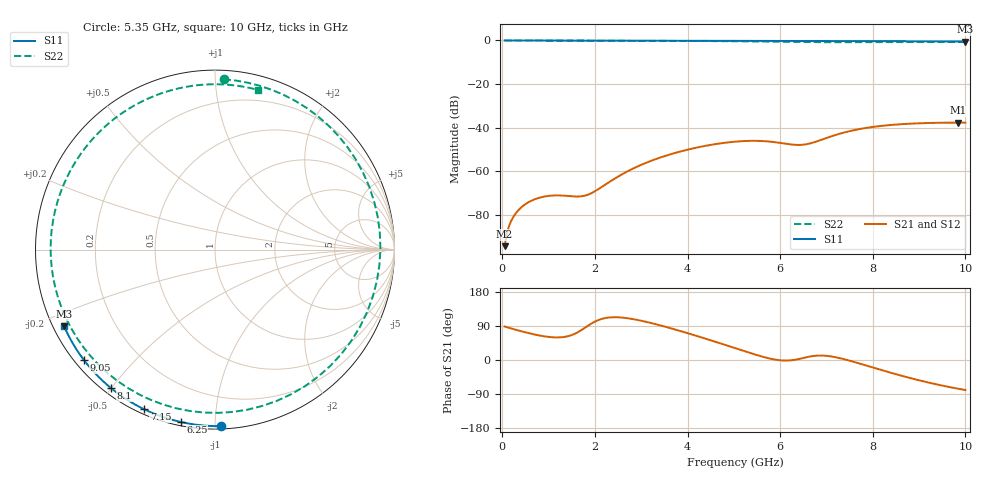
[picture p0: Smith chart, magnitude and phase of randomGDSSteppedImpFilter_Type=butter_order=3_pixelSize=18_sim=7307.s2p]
! freq	dB(S11)	phase(S11)	dB(S12)	phase(S12)
!  dB(S21)	phase(S21)	dB(S22)	phase(S22)
!S-par simulation data
#  GHz  S  DB  R 50
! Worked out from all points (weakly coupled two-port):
!   200 points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, 50 MHz to 10 GHz, reference 50 ohm
!   highest |S21| = -37.72 dB at 9.85 GHz (marker M1); lowest = -94.4 dB at 50 MHz (marker M2)
!   lowest |S11| = -0.5 dB at 10 GHz (marker M3), VSWR 33.96, Z = 1.56 - j11.9 ohm
!   |S11| at or under -10 dB: nowhere
!   |S22| runs from -0.8 to 0.0 dB; largest |S21 - S12| = 0
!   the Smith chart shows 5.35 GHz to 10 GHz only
!   S11 on the Smith chart (normalised r, x): 5.35 GHz: 0.02, -1.03; 6.25 GHz: 0.02, -0.82; 7.15 GHz: 0.02, -0.65; 8.1 GHz: 0.02, -0.50; 9.05 GHz: 0.03, -0.36; 10 GHz: 0.03, -0.24
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0.05  -0.00 -0.9  -94.40 88.4  -94.40 88.4  -0.00 -2.7
0.25  -0.01 -4.4  -80.58 81.2  -80.58 81.2  -0.02 -13.4
0.55  -0.01 -9.7  -74.43 71.5  -74.43 71.5  -0.04 -29.2
0.95  -0.02 -16.8  -71.47 61.7  -71.47 61.7  -0.06 -49.9
1.75  -0.04 -30.6  -71.37 82.2  -71.37 82.2  -0.11 -89.1
2.5  -0.06 -43.3  -62.46 112.7  -62.46 112.7  -0.14 -123.4
3.4  -0.08 -58.1  -53.80 91.8  -53.80 91.8  -0.19 -163.3
4.25  -0.10 -71.5  -48.93 61.6  -48.93 61.6  -0.26 156.2
5.05  -0.13 -83.7  -46.40 30.3  -46.40 30.3  -0.38 109.0
5.35  -0.14 -88.2  -46.07 18.5  -46.07 18.5  -0.44 87.1
5.8  -0.16 -94.8  -46.46 3.2  -46.46 3.2  -0.57 47.7
6.25  -0.18 -101.3  -47.77 -0.7  -47.77 -0.7  -0.71 0.4
6.45  -0.19 -104.1  -47.91 3.8  -47.91 3.8  -0.76 -22.4
6.7  -0.21 -107.6  -46.94 10.3  -46.94 10.3  -0.80 -50.9
6.9  -0.22 -110.4  -45.52 11.8  -45.52 11.8  -0.82 -73.0
7.15  -0.24 -113.9  -43.69 8.4  -43.69 8.4  -0.82 -98.8
7.6  -0.27 -120.1  -41.14 -5.3  -41.14 -5.3  -0.80 -139.5
8.1  -0.31 -127.0  -39.42 -23.4  -39.42 -23.4  -0.77 -177.0
8.35  -0.33 -130.4  -38.86 -32.3  -38.86 -32.3  -0.75 166.4
9.05  -0.40 -140.0  -37.97 -55.1  -37.97 -55.1  -0.73 124.7
9.85  -0.49 -151.0  -37.72 -76.0  -37.72 -76.0  -0.71 82.3
10  -0.51 -153.1  -37.73 -79.2  -37.73 -79.2  -0.71 74.8
